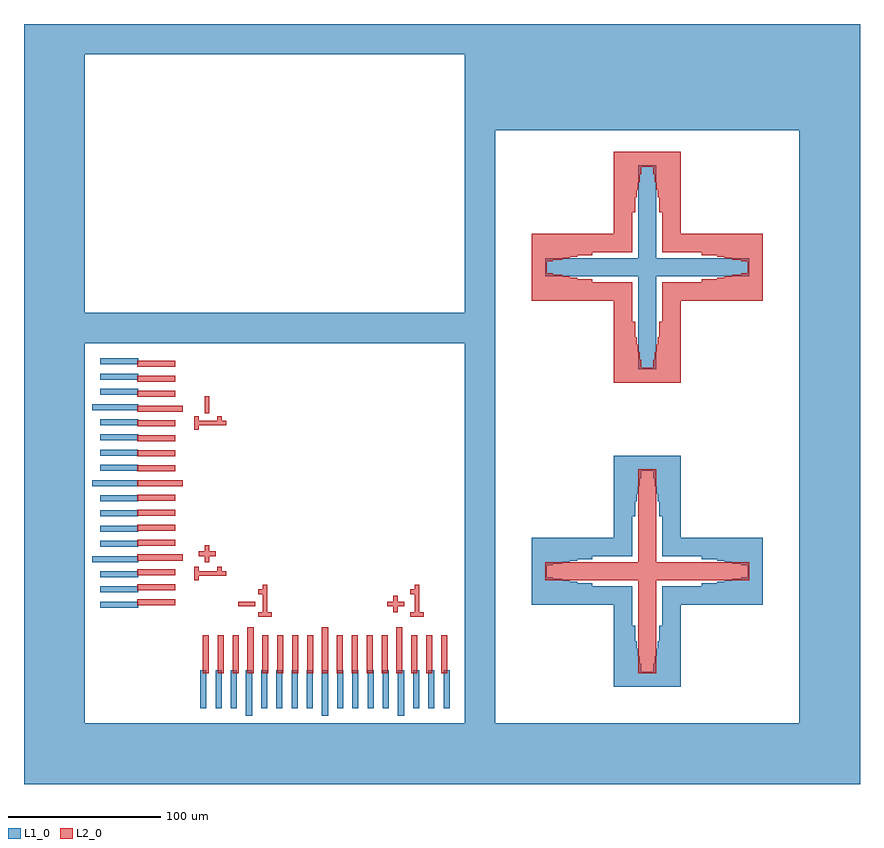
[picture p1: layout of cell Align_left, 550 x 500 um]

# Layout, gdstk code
import gdstk
lib = gdstk.Library(unit=1e-6, precision=1e-08)
def R(c, l, rs):  # rectangles x0, y0, x1, y1
    for r in rs: c.add(gdstk.rectangle(r[:2], r[2:], *l))
def A(c, l, x, y, w, h, nx, ny, dx, dy):  # array of equal rectangles
    R(c, l, [(x+i*dx, y+j*dy, x+i*dx+w, y+j*dy+h) for i in range(nx) for j in range(ny)])
def P(c, l, *ps):  # polygons
    for p in ps: c.add(gdstk.Polygon(p, *l))
L1_0 = (1, 0)
L2_0 = (2, 0)

align_left = lib.new_cell('Align_left')
A(align_left, L1_0, -129, -205, 4, 30, 3, 1, 50, 0)
A(align_left, L1_0, -159, -200, 4, 25, 3, 1, 10, 0)
A(align_left, L1_0, -119, -200, 4, 25, 4, 1, 10, 0)
A(align_left, L1_0, -69, -200, 4, 25, 4, 1, 10, 0)
A(align_left, L1_0, -19, -200, 4, 25, 3, 1, 10, 0)
A(align_left, L1_0, -225, -134, 25, 4, 1, 3, 0, 10)
A(align_left, L1_0, -230, -104, 30, 4, 1, 3, 0, 50)
A(align_left, L1_0, -225, -94, 25, 4, 1, 4, 0, 10)
A(align_left, L1_0, -225, -44, 25, 4, 1, 4, 0, 10)
A(align_left, L1_0, -225, 6, 25, 4, 1, 3, 0, 10)
R(align_left, L1_0, [(129,23,141,157), (68,84,202,96)])
P(align_left, L1_0, [(-275,-250),(-275,250),(-235,250),(-235,-210),(15,-210),(15,40),(-235,40),(-235,60),(15,60),(15,230),(-235,230),(-235,250),(35,250),(35,-210),(235,-210),(235,180),(35,180),(35,250),(275,250),(275,-250)],
  [(113,-186),(113,-132),(59,-132),(59,-110),(69,-110),(69,-114),(73,-114),(73,-115),(79,-115),(79,-116),(84,-116),(84,-117),(89,-117),(89,-118),(99,-118),(99,-120),(125,-120),(125,-146),(127,-146),(127,-156),(128,-156),(128,-161),(129,-161),(129,-166),(130,-166),(130,-171),(131,-171),(131,-176),(135,-176),(135,-186)],
  [(59,-110),(59,-88),(113,-88),(113,-34),(135,-34),(135,-44),(131,-44),(131,-49),(130,-49),(130,-54),(129,-54),(129,-59),(128,-59),(128,-64),(127,-64),(127,-74),(125,-74),(125,-100),(99,-100),(99,-102),(89,-102),(89,-103),(84,-103),(84,-104),(79,-104),(79,-105),(73,-105),(73,-106),(69,-106),(69,-110)],
  [(201,-110),(201,-106),(197,-106),(197,-105),(191,-105),(191,-104),(186,-104),(186,-103),(181,-103),(181,-102),(171,-102),(171,-100),(145,-100),(145,-74),(143,-74),(143,-64),(142,-64),(142,-59),(141,-59),(141,-54),(140,-54),(140,-49),(139,-49),(139,-44),(135,-44),(135,-34),(157,-34),(157,-88),(211,-88),(211,-110)],
  [(135,-186),(135,-176),(139,-176),(139,-171),(140,-171),(140,-166),(141,-166),(141,-161),(142,-161),(142,-156),(143,-156),(143,-146),(145,-146),(145,-120),(171,-120),(171,-118),(181,-118),(181,-117),(186,-117),(186,-116),(191,-116),(191,-115),(197,-115),(197,-114),(201,-114),(201,-110),(211,-110),(211,-132),(157,-132),(157,-186)])
A(align_left, L2_0, -157.4, -177, 4, 25, 3, 1, 9.8, 0)
A(align_left, L2_0, -128, -177, 4, 30, 3, 1, 49, 0)
A(align_left, L2_0, -118.2, -177, 4, 25, 4, 1, 9.8, 0)
A(align_left, L2_0, -69.2, -177, 4, 25, 4, 1, 9.8, 0)
A(align_left, L2_0, -20.2, -177, 4, 25, 3, 1, 9.8, 0)
A(align_left, L2_0, -200.4, -132.4, 25, 4, 1, 3, 0, 9.8)
A(align_left, L2_0, -200.4, -103, 30, 4, 1, 3, 0, 49)
A(align_left, L2_0, -200.4, -93.2, 25, 4, 1, 4, 0, 9.8)
A(align_left, L2_0, -200.4, -44.2, 25, 4, 1, 4, 0, 9.8)
A(align_left, L2_0, -200.4, 4.8, 25, 4, 1, 3, 0, 9.8)
R(align_left, L2_0, [(-134,-133,-123,-130), (-156,-6,-153,5)])
P(align_left, L2_0, [(-21,-140),(-21,-137),(-18,-137),(-18,-125),(-21,-125),(-21,-122),(-18,-122),(-18,-119),(-15,-119),(-15,-137),(-12,-137),(-12,-140)],
  [(-121,-140),(-121,-137),(-118,-137),(-118,-125),(-121,-125),(-121,-122),(-118,-122),(-118,-119),(-115,-119),(-115,-137),(-112,-137),(-112,-140)],
  [(-32,-137),(-32,-133),(-36,-133),(-36,-130),(-32,-130),(-32,-126),(-29,-126),(-29,-130),(-25,-130),(-25,-133),(-29,-133),(-29,-137)],
  [(-163,-116),(-163,-107),(-160,-107),(-160,-110),(-148,-110),(-148,-107),(-145,-107),(-145,-110),(-142,-110),(-142,-113),(-160,-113),(-160,-116)],
  [(-156,-104),(-156,-100),(-160,-100),(-160,-97),(-156,-97),(-156,-93),(-153,-93),(-153,-97),(-149,-97),(-149,-100),(-153,-100),(-153,-104)],
  [(-163,-17),(-163,-8),(-160,-8),(-160,-11),(-148,-11),(-148,-8),(-145,-8),(-145,-11),(-142,-11),(-142,-14),(-160,-14),(-160,-17)],
  [(129,-177),(129,-116),(68,-116),(68,-104),(129,-104),(129,-43),(141,-43),(141,-104),(202,-104),(202,-116),(141,-116),(141,-177)],
  [(113,14),(113,68),(59,68),(59,112),(113,112),(113,166),(157,166),(157,156),(131,156),(131,151),(130,151),(130,146),(129,146),(129,141),(128,141),(128,136),(127,136),(127,126),(125,126),(125,100),(99,100),(99,98),(89,98),(89,97),(84,97),(84,96),(79,96),(79,95),(73,95),(73,94),(69,94),(69,86),(73,86),(73,85),(79,85),(79,84),(84,84),(84,83),(89,83),(89,82),(99,82),(99,80),(125,80),(125,54),(127,54),(127,44),(128,44),(128,39),(129,39),(129,34),(130,34),(130,29),(131,29),(131,24),(139,24),(139,29),(140,29),(140,34),(141,34),(141,39),(142,39),(142,44),(143,44),(143,54),(145,54),(145,80),(171,80),(171,82),(181,82),(181,83),(186,83),(186,84),(191,84),(191,85),(197,85),(197,86),(201,86),(201,94),(197,94),(197,95),(191,95),(191,96),(186,96),(186,97),(181,97),(181,98),(171,98),(171,100),(145,100),(145,126),(143,126),(143,136),(142,136),(142,141),(141,141),(141,146),(140,146),(140,151),(139,151),(139,156),(157,156),(157,112),(211,112),(211,68),(157,68),(157,14)])

lib.write_gds('Align_left.gds')
